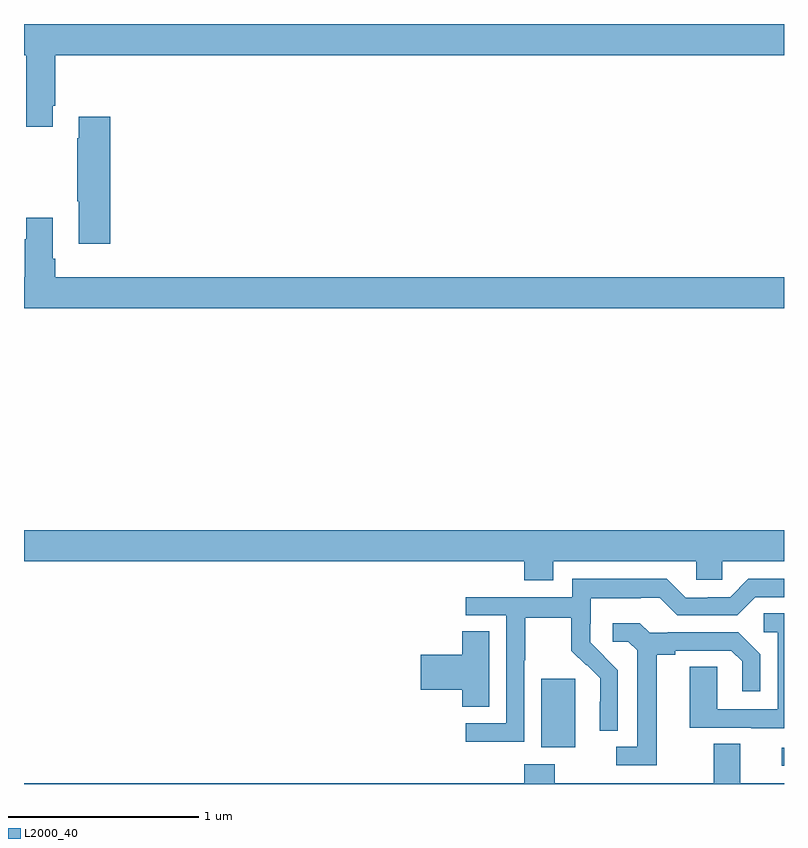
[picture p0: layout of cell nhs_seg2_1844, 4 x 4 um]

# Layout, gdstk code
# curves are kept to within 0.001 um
import gdstk
lib = gdstk.Library(unit=1e-6, precision=1e-09)
def R(c, l, rs):  # rectangles x0, y0, x1, y1
    for r in rs: c.add(gdstk.rectangle(r[:2], r[2:], *l))
def P(c, l, *ps):  # polygons
    for p in ps: c.add(gdstk.Polygon(p, *l))
L2000_40 = (2000, 40)

nhs_seg2_1844 = lib.new_cell('nhs_seg2_1844')
R(nhs_seg2_1844, L2000_40, [(210.987,643.896,211,643.992), (209.723,643.994,209.902,644.355)])
P(nhs_seg2_1844, L2000_40, [(207.151,647.371),(207.164,647.371),(207.164,647.636),(211,647.636),(211,647.8),(207,647.8),(207,647.636),(207.011,647.636),(207.011,647.259),(207.151,647.259)],
  [(207.455,647.311),(207.287,647.311),(207.287,647.198),(207.28,647.198),(207.28,646.867),(207.287,646.867),(207.287,646.644),(207.455,646.644)],
  [(211,646.468),(207.164,646.468),(207.164,646.564),(207.151,646.564),(207.151,646.78),(207.011,646.78),(207.011,646.667),(207.004,646.667),(207.004,646.468),(207,646.468),(207,646.304),(211,646.304)],
  [(209.785,644.972),(210.537,644.972),(210.537,644.874),(210.675,644.874),(210.675,644.972),(211,644.972),(211,645.136),(207,645.136),(207,644.972),(209.633,644.972),(209.633,644.873),(209.785,644.873)],
  [(209.634,644.452),(209.637,644.452),(209.637,644.676),(209.881,644.676),(209.881,644.501),(209.958,644.424),(209.961,644.427),(210.032,644.357),(210.032,644.234),(210.03,644.234),(210.03,644.08),(210.126,644.08),(210.126,644.398),(209.98,644.546),(209.98,644.643),(209.982,644.643),(209.982,644.777),(210.245,644.777),(210.245,644.781),(210.345,644.781),(210.438,644.688),(210.753,644.688),(210.849,644.784),(211,644.784),(211,644.88),(210.813,644.88),(210.717,644.784),(210.599,644.784),(210.599,644.781),(210.483,644.781),(210.383,644.881),(209.886,644.881),(209.886,644.784),(209.325,644.784),(209.325,644.688),(209.538,644.688),(209.538,644.121),(209.325,644.121),(209.325,644.023),(209.634,644.023)],
  [(211,644.699),(210.894,644.699),(210.894,644.598),(210.966,644.598),(210.966,644.193),(210.648,644.193),(210.648,644.417),(210.503,644.417),(210.503,644.097),(210.827,644.097),(210.827,644.093),(211,644.093)],
  [(210.331,644.48),(210.427,644.48),(210.427,644.502),(210.722,644.502),(210.779,644.445),(210.779,644.289),(210.876,644.289),(210.876,644.482),(210.76,644.598),(210.388,644.598),(210.388,644.595),(210.294,644.595),(210.242,644.647),(210.099,644.647),(210.099,644.55),(210.18,644.55),(210.227,644.503),(210.227,643.995),(210.117,643.995),(210.117,643.899),(210.331,643.899)],
  [(209.449,644.603),(209.306,644.603),(209.306,644.48),(209.088,644.48),(209.088,644.297),(209.306,644.297),(209.306,644.206),(209.449,644.206)],
  [(211,643.804),(210.769,643.804),(210.769,644.012),(210.629,644.012),(210.629,643.804),(209.793,643.804),(209.793,643.903),(209.633,643.903),(209.633,643.804),(207,643.804),(207,643.8),(211,643.8)])

lib.write_gds('nhs_seg2_1844.gds')
